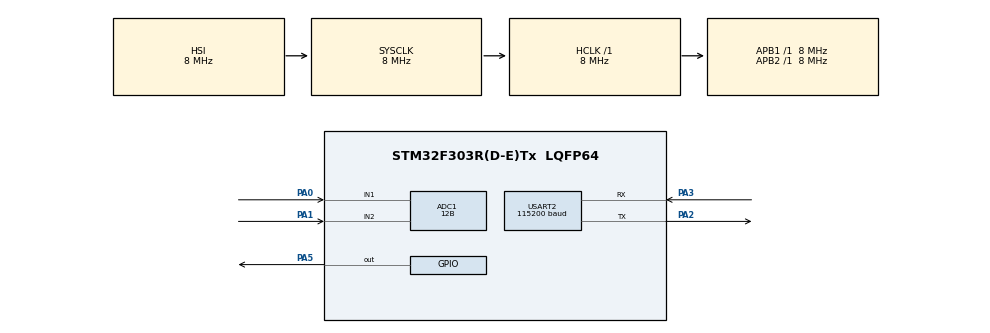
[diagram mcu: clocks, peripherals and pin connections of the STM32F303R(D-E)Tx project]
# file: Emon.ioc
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ADC1.Channel-10\#ChannelRegularConversion=ADC_CHANNEL_2
ADC1.Channel-8\#ChannelRegularConversion=ADC_CHANNEL_1
ADC1.ClockPrescaler=ADC_CLOCK_ASYNC_DIV1
ADC1.ContinuousConvMode=ENABLE
ADC1.DMAContinuousRequests=ENABLE
ADC1.DataAlign=ADC_DATAALIGN_RIGHT
ADC1.DiscontinuousConvMode=DISABLE
ADC1.EOCSelection=ADC_EOC_SEQ_CONV
ADC1.EnableAnalogWatchDog1=false
ADC1.EnableAnalogWatchDog2=false
ADC1.EnableAnalogWatchDog3=false
ADC1.EnableInjectedConversion=ENABLE
ADC1.EnableRegularConversion=ENABLE
ADC1.ExternalTrigConv=ADC_SOFTWARE_START
ADC1.ExternalTrigConvEdge=ADC_EXTERNALTRIGCONVEDGE_NONE
ADC1.InjNumberOfConversion=0
ADC1.LowPowerAutoWait=DISABLE
ADC1.NbrOfConversion=2
ADC1.NbrOfConversionFlag=1
ADC1.Offset-10\#ChannelRegularConversion=0
ADC1.Offset-8\#ChannelRegularConversion=0
ADC1.OffsetNumber-10\#ChannelRegularConversion=ADC_OFFSET_NONE
ADC1.OffsetNumber-8\#ChannelRegularConversion=ADC_OFFSET_NONE
ADC1.Overrun=ADC_OVR_DATA_OVERWRITTEN
ADC1.Rank-10\#ChannelRegularConversion=2
ADC1.Rank-8\#ChannelRegularConversion=1
ADC1.Resolution=ADC_RESOLUTION_12B
ADC1.SamplingTime-10\#ChannelRegularConversion=ADC_SAMPLETIME_601CYCLES_5
ADC1.SamplingTime-8\#ChannelRegularConversion=ADC_SAMPLETIME_601CYCLES_5
ADC1.ScanConvMode=ADC_SCAN_ENABLE
ADC1.master=1
Dma.ADC1.0.Direction=DMA_PERIPH_TO_MEMORY
Dma.ADC1.0.Instance=DMA1_Channel1
Dma.ADC1.0.MemDataAlignment=DMA_MDATAALIGN_HALFWORD
Dma.ADC1.0.MemInc=DMA_MINC_ENABLE
Dma.ADC1.0.Mode=DMA_CIRCULAR
Dma.ADC1.0.PeriphDataAlignment=DMA_PDATAALIGN_HALFWORD
Dma.ADC1.0.PeriphInc=DMA_PINC_DISABLE
Dma.ADC1.0.Priority=DMA_PRIORITY_LOW
Dma.Request0=ADC1
Mcu.Family=STM32F3
Mcu.Name=STM32F303R(D-E)Tx
Mcu.Package=LQFP64
NVIC.DMA1_Channel1_IRQn=true\:0\:0\:false\:false\:true\:false
NVIC.PriorityGroup=NVIC_PRIORITYGROUP_4
PA0.Mode=IN1-Single-Ended
PA0.Signal=ADC1_IN1
PA1.Mode=IN2-Single-Ended
PA1.Signal=ADC1_IN2
PA2.Mode=Asynchronous
PA2.Signal=USART2_TX
PA3.Mode=Asynchronous
PA3.Signal=USART2_RX
PA5.Signal=GPIO_Output
ProjectManager.HeapSize=0x200
ProjectManager.StackSize=0x400
ProjectManager.TargetToolchain=Makefile
RCC.AHBFreq_Value=8000000
RCC.APB1Freq_Value=8000000
RCC.APB2Freq_Value=8000000
RCC.CortexFreq_Value=8000000
RCC.HSE_VALUE=8000000
RCC.HSI_VALUE=8000000
RCC.LSE_VALUE=32768
RCC.SYSCLKFreq_VALUE=8000000
RCC.USBFreq_Value=16000000
USART2.BaudRate=115200
USART2.VirtualMode-Asynchronous=VM_ASYNC
USART2.WordLength=WORDLENGTH_8B
board=Emon

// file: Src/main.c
/**
  ******************************************************************************
  * @file           : main.c
  * @brief          : Main program body
  ******************************************************************************
  ** This notice applies to any and all portions of this file
  * that are not between comment pairs USER CODE BEGIN and
  * USER CODE END. Other portions of this file, whether
  * inserted by the user or by software development tools
  * are owned by their respective copyright owners.
  *
  * COPYRIGHT(c) 2018 STMicroelectronics
  *
  * Redistribution and use in source and binary forms, with or without modification,
  * are permitted provided that the following conditions are met:
  *   1. Redistributions of source code must retain the above copyright notice,
  *      this list of conditions and the following disclaimer.
  *   2. Redistributions in binary form must reproduce the above copyright notice,
  *      this list of conditions and the following disclaimer in the documentation
  *      and/or other materials provided with the distribution.
  *   3. Neither the name of STMicroelectronics nor the names of its contributors
  *      may be used to endorse or promote products derived from this software
  *      without specific prior written permission.
  *
  * THIS SOFTWARE IS PROVIDED BY THE COPYRIGHT HOLDERS AND CONTRIBUTORS "AS IS"
  * AND ANY EXPRESS OR IMPLIED WARRANTIES, INCLUDING, BUT NOT LIMITED TO, THE
  * IMPLIED WARRANTIES OF MERCHANTABILITY AND FITNESS FOR A PARTICULAR PURPOSE ARE
  * DISCLAIMED. IN NO EVENT SHALL THE COPYRIGHT HOLDER OR CONTRIBUTORS BE LIABLE
  * FOR ANY DIRECT, INDIRECT, INCIDENTAL, SPECIAL, EXEMPLARY, OR CONSEQUENTIAL
  * DAMAGES (INCLUDING, BUT NOT LIMITED TO, PROCUREMENT OF SUBSTITUTE GOODS OR
  * SERVICES; LOSS OF USE, DATA, OR PROFITS; OR BUSINESS INTERRUPTION) HOWEVER
  * CAUSED AND ON ANY THEORY OF LIABILITY, WHETHER IN CONTRACT, STRICT LIABILITY,
  * OR TORT (INCLUDING NEGLIGENCE OR OTHERWISE) ARISING IN ANY WAY OUT OF THE USE
  * OF THIS SOFTWARE, EVEN IF ADVISED OF THE POSSIBILITY OF SUCH DAMAGE.
  *
  ******************************************************************************
  */
#include "main.h"
#include "stm32f3xx_hal.h"
#include "adc.h"
#include "dma.h"
#include "usart.h"
#include "gpio.h"

/* USER CODE BEGIN PV */
/* Private variables ---------------------------------------------------------*/

// Serial output buffer
char log_buffer[100];

#define true 1
#define false 0

// Readings
int8_t readings_ready = false;
double Vrms = 0;
double Irms = 0;
double realPower = 0;
double apparentPower = 0;
double powerFactor = 0;
uint64_t lastSampleCount = 0;

// Calibration
double VCAL = 268.97;
double ICAL = 60.606;

// Sampling & Filter
int32_t shiftedFCL = 0;

int32_t sampleA0 = 0;
int32_t last_sampleA0 = 0;
int32_t shifted_filterA0 = -10000;

int32_t sampleA1 = 0;
int32_t last_sampleA1 = 0;
int32_t shifted_filterA1 = -10000;

uint64_t sqsumA0 = 0;
uint64_t sqsumA1 = 0;
int64_t sumA0A1 = 0;

uint8_t checkVCross = 0;
uint8_t lastVCross = 0;
uint8_t crossCount = 0;
uint64_t sampleCount = 0;
double V_RATIO = 0;
double I_RATIO = 0;

/* USER CODE END PV */

void SystemClock_Config(void);

/* USER CODE BEGIN PFP */
/* Private function prototypes -----------------------------------------------*/

/* USER CODE END PFP */

/* USER CODE BEGIN 0 */
void process_frame(uint16_t offset)
{
  for (int i=0; i<2000; i+=2) {
    // -------------------------------------------------------------------
    last_sampleA0 = sampleA0;
    sampleA0 = adc1_dma_buff[offset+i];
    // filter
    shiftedFCL = shifted_filterA0 + (int32_t)((sampleA0 - last_sampleA0)<<8);
    shifted_filterA0 = shiftedFCL - (shiftedFCL>>8);
    int32_t filtered_A0 = (shifted_filterA0+128)>>8;
    // sum and sqsum
    sqsumA0 += filtered_A0 * filtered_A0;
    // -------------------------------------------------------------------
    last_sampleA1 = sampleA1;
    sampleA1 = adc1_dma_buff[offset+i+1];
    // filter
    shiftedFCL = shifted_filterA1 + (int32_t)((sampleA1 - last_sampleA1)<<8);
    shifted_filterA1 = shiftedFCL - (shiftedFCL>>8);
    int32_t filtered_A1 = (shifted_filterA1+128)>>8;
    // sum and sqsum
    sqsumA1 += filtered_A1 * filtered_A1;
    // -------------------------------------------------------------------
    sumA0A1 += filtered_A0 * filtered_A1;

    sampleCount ++;

    lastVCross = checkVCross;
    if (filtered_A0 > 0) checkVCross = true; else checkVCross = false;
    if (lastVCross != checkVCross) crossCount++;

    if (crossCount>=250) {
      crossCount = 0;

      double rmsA0 = sqrt(sqsumA0 * (1.0 / sampleCount));
      sqsumA0 = 0;
      double rmsA1 = sqrt(sqsumA1 * (1.0 / sampleCount));
      sqsumA1 = 0;
      double meanA0A1 = sumA0A1 * (1.0 / sampleCount);
      sumA0A1 = 0;
      lastSampleCount = sampleCount;
      sampleCount = 0;

      Vrms = V_RATIO * rmsA0;
      Irms = I_RATIO * rmsA1;
      realPower = V_RATIO * I_RATIO * meanA0A1;
      apparentPower = Vrms * Irms;
      powerFactor = realPower / apparentPower;

      readings_ready = true;
    }
  }
}

/* USER CODE END 0 */

int main(void)
{

  /* MCU Configuration----------------------------------------------------------*/

  /* Reset of all peripherals, Initializes the Flash interface and the Systick. */
  HAL_Init();

  /* USER CODE BEGIN Init */
  V_RATIO = VCAL * (3.3 / 4096.0);
  I_RATIO = ICAL * (3.3 / 4096.0);
  /* USER CODE END Init */

  /* Configure the system clock */
  SystemClock_Config();

  /* Initialize all configured peripherals */
  MX_GPIO_Init();
  MX_DMA_Init();
  MX_USART2_UART_Init();
  MX_ADC1_Init();
  /* USER CODE BEGIN 2 */

  sprintf(log_buffer,"Vrms\tIrms\tRP\tAP\tPF\r\n");
  debug_printf(log_buffer);

  start_ADC1();

  /* USER CODE END 2 */

  /* Infinite loop */
  /* USER CODE BEGIN WHILE */
  while (1)
  {
     if (readings_ready) {
       readings_ready = false;

       sprintf(log_buffer,"%.2f\t%.3f\t%.1f\t%.1f\t%.3f\t%d\r\n", Vrms, Irms, realPower, apparentPower, powerFactor, lastSampleCount);
       debug_printf(log_buffer);
     }
  /* USER CODE END WHILE */

  }

}

void SystemClock_Config(void)
{

  RCC_OscInitTypeDef RCC_OscInitStruct;
  RCC_ClkInitTypeDef RCC_ClkInitStruct;
  RCC_PeriphCLKInitTypeDef PeriphClkInit;

    /**Initializes the CPU, AHB and APB busses clocks
    */
  RCC_OscInitStruct.OscillatorType = RCC_OSCILLATORTYPE_HSI;
  RCC_OscInitStruct.HSIState = RCC_HSI_ON;
  RCC_OscInitStruct.HSICalibrationValue = 16;
  RCC_OscInitStruct.PLL.PLLState = RCC_PLL_ON;
  RCC_OscInitStruct.PLL.PLLSource = RCC_PLLSOURCE_HSI;
  RCC_OscInitStruct.PLL.PLLMUL = RCC_PLL_MUL2;
  RCC_OscInitStruct.PLL.PREDIV = RCC_PREDIV_DIV1;
  if (HAL_RCC_OscConfig(&RCC_OscInitStruct) != HAL_OK)
  {
    _Error_Handler(__FILE__, __LINE__);
  }

    /**Initializes the CPU, AHB and APB busses clocks
    */
  RCC_ClkInitStruct.ClockType = RCC_CLOCKTYPE_HCLK|RCC_CLOCKTYPE_SYSCLK
                              |RCC_CLOCKTYPE_PCLK1|RCC_CLOCKTYPE_PCLK2;
  RCC_ClkInitStruct.SYSCLKSource = RCC_SYSCLKSOURCE_HSI;
  RCC_ClkInitStruct.AHBCLKDivider = RCC_SYSCLK_DIV1;
  RCC_ClkInitStruct.APB1CLKDivider = RCC_HCLK_DIV1;
  RCC_ClkInitStruct.APB2CLKDivider = RCC_HCLK_DIV1;

  if (HAL_RCC_ClockConfig(&RCC_ClkInitStruct, FLASH_LATENCY_0) != HAL_OK)
  {
    _Error_Handler(__FILE__, __LINE__);
  }

  PeriphClkInit.PeriphClockSelection = RCC_PERIPHCLK_USART2|RCC_PERIPHCLK_ADC12;
  PeriphClkInit.Usart2ClockSelection = RCC_USART2CLKSOURCE_PCLK1;
  PeriphClkInit.Adc12ClockSelection = RCC_ADC12PLLCLK_DIV1;
  if (HAL_RCCEx_PeriphCLKConfig(&PeriphClkInit) != HAL_OK)
  {
    _Error_Handler(__FILE__, __LINE__);
  }

    /**Configure the Systick interrupt time
    */
  HAL_SYSTICK_Config(HAL_RCC_GetHCLKFreq()/1000);

    /**Configure the Systick
    */
  HAL_SYSTICK_CLKSourceConfig(SYSTICK_CLKSOURCE_HCLK);

  /* SysTick_IRQn interrupt configuration */
  HAL_NVIC_SetPriority(SysTick_IRQn, 0, 0);
}

void _Error_Handler(char *file, int line)
{
  while(1)
  {
  }
}

/************************ (C) COPYRIGHT STMicroelectronics *****END OF FILE****/
